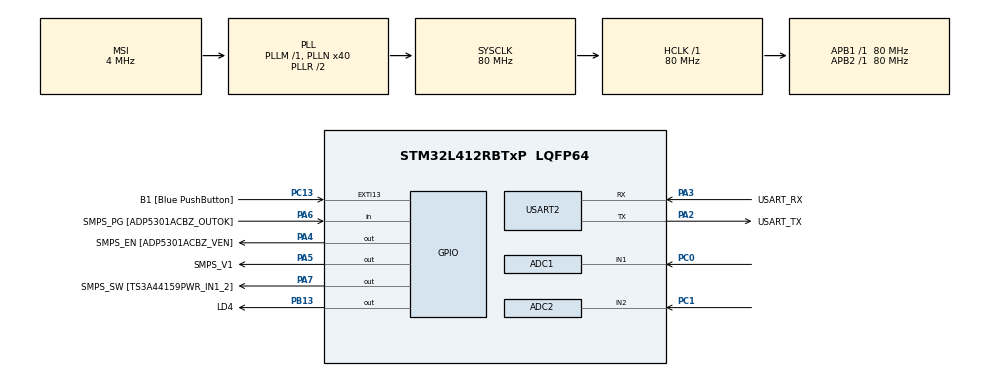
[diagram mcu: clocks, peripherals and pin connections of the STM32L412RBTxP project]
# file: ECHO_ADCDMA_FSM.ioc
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ADC1.Channel-0\#ChannelRegularConversion=ADC_CHANNEL_1
ADC1.ContinuousConvMode=ENABLE
ADC1.DMAContinuousRequests=DISABLE
ADC1.EOCSelection=ADC_EOC_SEQ_CONV
ADC1.NbrOfConversionFlag=1
ADC1.OffsetNumber-0\#ChannelRegularConversion=ADC_OFFSET_NONE
ADC1.Overrun=ADC_OVR_DATA_PRESERVED
ADC1.Rank-0\#ChannelRegularConversion=1
ADC1.SamplingTime-0\#ChannelRegularConversion=ADC_SAMPLETIME_47CYCLES_5
ADC1.master=1
ADC2.Channel-2\#ChannelRegularConversion=ADC_CHANNEL_2
ADC2.ContinuousConvMode=ENABLE
ADC2.DMAContinuousRequests=DISABLE
ADC2.EOCSelection=ADC_EOC_SEQ_CONV
ADC2.NbrOfConversionFlag=1
ADC2.OffsetNumber-2\#ChannelRegularConversion=ADC_OFFSET_NONE
ADC2.Rank-2\#ChannelRegularConversion=1
ADC2.SamplingTime-2\#ChannelRegularConversion=ADC_SAMPLETIME_47CYCLES_5
Dma.ADC1.0.Direction=DMA_PERIPH_TO_MEMORY
Dma.ADC1.0.Instance=DMA1_Channel1
Dma.ADC1.0.MemDataAlignment=DMA_MDATAALIGN_HALFWORD
Dma.ADC1.0.MemInc=DMA_MINC_ENABLE
Dma.ADC1.0.Mode=DMA_NORMAL
Dma.ADC1.0.PeriphDataAlignment=DMA_PDATAALIGN_HALFWORD
Dma.ADC1.0.PeriphInc=DMA_PINC_DISABLE
Dma.ADC1.0.Priority=DMA_PRIORITY_LOW
Dma.ADC2.1.Direction=DMA_PERIPH_TO_MEMORY
Dma.ADC2.1.Instance=DMA1_Channel2
Dma.ADC2.1.MemDataAlignment=DMA_MDATAALIGN_HALFWORD
Dma.ADC2.1.MemInc=DMA_MINC_ENABLE
Dma.ADC2.1.Mode=DMA_NORMAL
Dma.ADC2.1.PeriphDataAlignment=DMA_PDATAALIGN_HALFWORD
Dma.ADC2.1.PeriphInc=DMA_PINC_DISABLE
Dma.ADC2.1.Priority=DMA_PRIORITY_LOW
Dma.Request0=ADC1
Dma.Request1=ADC2
Mcu.Family=STM32L4
Mcu.Name=STM32L412RBTxP
Mcu.Package=LQFP64
NVIC.DMA1_Channel1_IRQn=true\:0\:0\:false\:false\:true\:false\:true\:true
NVIC.DMA1_Channel2_IRQn=true\:0\:0\:false\:false\:true\:false\:true\:true
NVIC.PriorityGroup=NVIC_PRIORITYGROUP_4
PA13\ (JTMS/SWDIO).GPIO_Label=TMS
PA13\ (JTMS/SWDIO).Mode=Serial_Wire
PA13\ (JTMS/SWDIO).Signal=SYS_JTMS-SWDIO
PA14\ (JTCK/SWCLK).GPIO_Label=TCK
PA14\ (JTCK/SWCLK).Mode=Serial_Wire
PA14\ (JTCK/SWCLK).Signal=SYS_JTCK-SWCLK
PA2.GPIO_Label=USART_TX
PA2.GPIO_PuPd=GPIO_NOPULL
PA2.GPIO_Speed=GPIO_SPEED_FREQ_VERY_HIGH
PA2.Mode=Asynchronous
PA2.Signal=USART2_TX
PA3.GPIO_Label=USART_RX
PA3.GPIO_PuPd=GPIO_NOPULL
PA3.GPIO_Speed=GPIO_SPEED_FREQ_VERY_HIGH
PA3.Mode=Asynchronous
PA3.Signal=USART2_RX
PA4.GPIO_Label=SMPS_EN [ADP5301ACBZ_VEN]
PA4.Signal=GPIO_Output
PA5.GPIO_Label=SMPS_V1
PA5.GPIO_ModeDefaultOutputPP=GPIO_MODE_OUTPUT_PP
PA5.GPIO_PuPd=GPIO_NOPULL
PA5.GPIO_Speed=GPIO_SPEED_FREQ_LOW
PA5.Signal=GPIO_Output
PA6.GPIO_Label=SMPS_PG [ADP5301ACBZ_OUTOK]
PA6.GPIO_PuPd=GPIO_PULLUP
PA6.Signal=GPIO_Input
PA7.GPIO_Label=SMPS_SW [TS3A44159PWR_IN1_2]
PA7.Signal=GPIO_Output
PB13.GPIO_Label=LD4
PB13.Signal=GPIO_Output
PB3\ (JTDO/TRACESWO).GPIO_Label=SWO
PB3\ (JTDO/TRACESWO).Signal=SYS_JTDO-SWO
PC0.Signal=ADCx_IN1
PC1.Signal=ADCx_IN2
PC13.GPIO_Label=B1 [Blue PushButton]
PC13.GPIO_ModeDefaultEXTI=GPIO_MODE_IT_FALLING
PC13.GPIO_PuPd=GPIO_NOPULL
PC13.Signal=GPXTI13
PC14-OSC32_IN\ (PC14).Mode=LSE-External-Oscillator
PC14-OSC32_IN\ (PC14).Signal=RCC_OSC32_IN
PC15-OSC32_OUT\ (PC15).Mode=LSE-External-Oscillator
PC15-OSC32_OUT\ (PC15).Signal=RCC_OSC32_OUT
PH0-OSC_IN\ (PH0).GPIO_Label=MCO
PH0-OSC_IN\ (PH0).Mode=HSE-External-Clock-Source
PH0-OSC_IN\ (PH0).Signal=RCC_OSC_IN
PH1-OSC_OUT\ (PH1).Signal=RCC_OSC_OUT
ProjectManager.HeapSize=0x200
ProjectManager.StackSize=0x400
ProjectManager.TargetToolchain=STM32CubeIDE
RCC.ADCFreq_Value=80000000
RCC.AHBFreq_Value=80000000
RCC.APB1Freq_Value=80000000
RCC.APB1TimFreq_Value=80000000
RCC.APB2Freq_Value=80000000
RCC.APB2TimFreq_Value=80000000
RCC.CortexFreq_Value=80000000
RCC.FLatency=FLASH_LATENCY_4
RCC.HCLKFreq_Value=80000000
RCC.HSE_VALUE=8000000
RCC.HSI48_VALUE=48000000
RCC.HSICalibrationValue=16
RCC.HSI_VALUE=16000000
RCC.MSIAutoCalibration=DISABLED
RCC.MSI_VALUE=4000000
RCC.PLLN=40
RCC.PREFETCH_ENABLE=1
RCC.SYSCLKFreq_VALUE=80000000
RCC.SYSCLKSource=RCC_SYSCLKSOURCE_PLLCLK
RCC.USBFreq_Value=4000000
RCC.VCOOutputFreq_Value=160000000
SH.ADCx_IN1.0=ADC1_IN1,IN1-Single-Ended
SH.ADCx_IN2.0=ADC2_IN2,IN2-Single-Ended
USART2.VirtualMode-Asynchronous=VM_ASYNC
board=NUCLEO-L412RB-P

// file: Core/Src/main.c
/* USER CODE BEGIN Header */
/**
 ******************************************************************************
 * @file           : main.c
 * @brief          : Main program body
 ******************************************************************************
 * @attention
 *
 * Copyright (c) 2022 STMicroelectronics.
 * All rights reserved.
 *
 * This software is licensed under terms that can be found in the LICENSE file
 * in the root directory of this software component.
 * If no LICENSE file comes with this software, it is provided AS-IS.
 *
 ******************************************************************************
 */
/* USER CODE END Header */
#include "main.h"

/* USER CODE BEGIN Includes */
#include <stdbool.h>
#include <stdio.h>
#include <string.h>
/* USER CODE END Includes */

/* USER CODE BEGIN PD */
#define ADC1_CHK_CH_NUM			1
#define ADC2_CHK_CH_NUM			1

#define ECHO_ADC1_RCV_SIZE		10
#define ECHO_ADC2_RCV_SIZE		10

#define ADC1_CONV_BUF			get_adc1_buf
#define ADC2_CONV_BUF			get_adc2_buf

#define ECHO_ADC1_CUR_STATE		echo_adc1_fsm_state.state
#define ECHO_ADC2_CUR_STATE		echo_adc2_fsm_state.state
/* USER CODE END PD */

ADC_HandleTypeDef hadc1;
ADC_HandleTypeDef hadc2;
DMA_HandleTypeDef hdma_adc1;
DMA_HandleTypeDef hdma_adc2;

UART_HandleTypeDef huart2;

/* USER CODE BEGIN PV */

__IO uint16_t get_adc1_buf[ADC1_CHK_CH_NUM * ECHO_ADC1_RCV_SIZE];
__IO uint16_t get_adc2_buf[ADC2_CHK_CH_NUM * ECHO_ADC2_RCV_SIZE];

uint16_t setpup_adc[ECHO_ADC1_RCV_SIZE]; // ADC1
uint16_t peak_adc[ECHO_ADC2_RCV_SIZE]; // ADC2

typedef struct
{
	echo_state_t state;
} echo_state_data_t;

echo_state_data_t echo_adc1_fsm_state;
echo_state_data_t echo_adc2_fsm_state;

echo_state_t adc1_cur_state = ECHO_ADC1_BUFFER_IS_NOT_FULL;
echo_state_t adc2_cur_state = ECHO_ADC2_BUFFER_IS_NOT_FULL;

/* USER CODE END PV */

void SystemClock_Config(void);
static void MX_GPIO_Init(void);
static void MX_DMA_Init(void);
static void MX_USART2_UART_Init(void);
static void MX_ADC1_Init(void);
static void MX_ADC2_Init(void);
/* USER CODE BEGIN PFP */
/* ADC CALLBACK FUNCTION */
void Echo_Set_ADC1_FSM_State(echo_state_t state)
{
	switch (state)
	{
	case ECHO_STATE_INIT:
		break;
	case ECHO_ADC1_BUFFER_IS_NOT_FULL:
		Echo_ADC1_Conv();
		break;
	case ECHO_ADC1_BUFFER_IS_FULL:
		Echo_ADC_Data_Print(state);
		break;
	case ECHO_ADC1_ERROR:
		HAL_ADC_Stop_DMA(&hadc1);
		break;
	default:
		break;
	}
	ECHO_ADC1_CUR_STATE = state;
}

void Echo_Set_ADC2_FSM_State(echo_state_t state)
{
	switch (state)
	{
	case ECHO_STATE_INIT:
		break;
	case ECHO_ADC2_BUFFER_IS_NOT_FULL:
		Echo_ADC2_Conv();
		break;
	case ECHO_ADC2_BUFFER_IS_FULL:
		Echo_ADC_Data_Print(state);
		break;
	case ECHO_ADC2_ERROR:
		HAL_ADC_Stop_DMA(&hadc2);
		break;
	default:
		break;
	}
	ECHO_ADC2_CUR_STATE = state;
}

void Echo_FSM_State_Init(void)
{
	ECHO_ADC1_CUR_STATE = echo_adc_state_max;
	ECHO_ADC2_CUR_STATE = echo_adc_state_max;
	Echo_Set_ADC1_FSM_State(ECHO_STATE_INIT);
	Echo_Set_ADC2_FSM_State(ECHO_STATE_INIT);
}

void Echo_Sys_FSM_State_Handle(void)
{
	if (ECHO_ADC1_CUR_STATE != adc1_cur_state)
	{
		Echo_Set_ADC1_FSM_State(adc1_cur_state);
	}
	if (ECHO_ADC2_CUR_STATE != adc2_cur_state)
	{
		Echo_Set_ADC2_FSM_State(adc2_cur_state);
	}
}

void Echo_ADC1_Conv(void)
{
	if (HAL_ADC_Start_DMA(&hadc1, (uint32_t*) ADC1_CONV_BUF,
	ADC1_CHK_CH_NUM * ECHO_ADC1_RCV_SIZE) != HAL_OK)
	{
		Error_Handler();
	}
}

void Echo_ADC2_Conv(void)
{
	if (HAL_ADC_Start_DMA(&hadc2, (uint32_t*) ADC2_CONV_BUF,
	ADC2_CHK_CH_NUM * ECHO_ADC2_RCV_SIZE) != HAL_OK)
	{
		Error_Handler();
	}
}

void Echo_ADC_Data_Print(echo_state_t state)
{
	uint8_t data[12];
	if (state == ECHO_ADC1_BUFFER_IS_FULL)
	{
		for (int i = 0; i < ECHO_ADC1_RCV_SIZE; i++)
		{
			sprintf((char*) data, (const char*) "ADC1: %d\r\n", setpup_adc[i]);
			HAL_UART_Transmit(&huart2, (uint8_t*) data, 12, 1000);
		}
		HAL_UART_Transmit(&huart2, (uint8_t*) "----------\r\n", 12, 1000);
		adc1_cur_state = ECHO_ADC1_BUFFER_IS_NOT_FULL;
	}

	if (state == ECHO_ADC2_BUFFER_IS_FULL)
	{
		for (int i = 0; i < ECHO_ADC2_RCV_SIZE; i++)
		{
			sprintf((char*) data, (const char*) "ADC2: %d\r\n", peak_adc[i]);
			HAL_UART_Transmit(&huart2, (uint8_t*) data, 12, 1000);
		}
		HAL_UART_Transmit(&huart2, (uint8_t*) "----------\r\n", 12, 1000);
		adc2_cur_state = ECHO_ADC2_BUFFER_IS_NOT_FULL;
	}
}

void HAL_ADC_ConvCpltCallback(ADC_HandleTypeDef *hadc)
{
	if (hadc->Instance == hadc1.Instance)
	{
		for (int index = 0; index < ECHO_ADC1_RCV_SIZE; index++)
		{
			setpup_adc[index] = ADC1_CONV_BUF[index]; // STEPUP_FEEDBACK
		}
		adc1_cur_state = ECHO_ADC1_BUFFER_IS_FULL;
	}

	if (hadc->Instance == hadc2.Instance)
	{
		for (int index = 0; index < ECHO_ADC2_RCV_SIZE; index++)
		{
			peak_adc[index] = ADC2_CONV_BUF[index]; // PEAK_DETECTION
		}
		adc2_cur_state = ECHO_ADC2_BUFFER_IS_FULL;
	}
}

void HAL_ADC_ConvHalfCpltCallback(ADC_HandleTypeDef *hadc)
{
	if (hadc->Instance == hadc1.Instance)
	{
		for (int index = 0; index < ECHO_ADC1_RCV_SIZE; index++)
		{
			setpup_adc[index] = ADC1_CONV_BUF[index]; // STEPUP_FEEDBACK
		}
		adc1_cur_state = ECHO_ADC1_BUFFER_IS_FULL;
	}

	if (hadc->Instance == hadc2.Instance)
	{
		for (int index = 0; index < ECHO_ADC2_RCV_SIZE; index++)
		{
			peak_adc[index] = ADC2_CONV_BUF[index]; // PEAK_DETECTION
		}
		adc2_cur_state = ECHO_ADC2_BUFFER_IS_FULL;
	}
}

void HAL_ADC_ErrorCallback(ADC_HandleTypeDef *hadc)
{
	adc1_cur_state = ECHO_ADC1_ERROR;
	adc2_cur_state = ECHO_ADC2_ERROR;
	HAL_UART_Transmit(&huart2, (uint8_t*) "ADC ERROR CALLBACK!!\r\n", 22, 1000);
}
/* USER CODE END PFP */

int main(void)
{

	/* MCU Configuration--------------------------------------------------------*/

	/* Reset of all peripherals, Initializes the Flash interface and the Systick. */
	HAL_Init();

	/* Configure the system clock */
	SystemClock_Config();

	/* Initialize all configured peripherals */
	MX_GPIO_Init();
	MX_DMA_Init();
	MX_USART2_UART_Init();
	MX_ADC1_Init();
	MX_ADC2_Init();
	/* USER CODE BEGIN 2 */
	Echo_FSM_State_Init();

	static uint32_t schdule_tick = 0;
	if (HAL_ADCEx_Calibration_Start(&hadc1, ADC_SINGLE_ENDED) != HAL_OK)
	{
		Error_Handler();
	}
	if (HAL_ADCEx_Calibration_Start(&hadc2, ADC_SINGLE_ENDED) != HAL_OK)
	{
		Error_Handler();
	}

	/* USER CODE END 2 */

	/* Infinite loop */
	while (1)
	{

		/* USER CODE BEGIN 3 */

		if (HAL_GetTick() - schdule_tick >= 1000)
		{
			Echo_Sys_FSM_State_Handle();
			schdule_tick = HAL_GetTick();

		}
	}
	/* USER CODE END 3 */
}

void SystemClock_Config(void)
{
	RCC_OscInitTypeDef RCC_OscInitStruct =
	{ 0 };
	RCC_ClkInitTypeDef RCC_ClkInitStruct =
	{ 0 };

	/** Configure the main internal regulator output voltage
	 */
	if (HAL_PWREx_ControlVoltageScaling(PWR_REGULATOR_VOLTAGE_SCALE1) != HAL_OK)
	{
		Error_Handler();
	}

	/** Initializes the RCC Oscillators according to the specified parameters
	 * in the RCC_OscInitTypeDef structure.
	 */
	RCC_OscInitStruct.OscillatorType = RCC_OSCILLATORTYPE_MSI;
	RCC_OscInitStruct.MSIState = RCC_MSI_ON;
	RCC_OscInitStruct.MSICalibrationValue = 0;
	RCC_OscInitStruct.MSIClockRange = RCC_MSIRANGE_6;
	RCC_OscInitStruct.PLL.PLLState = RCC_PLL_ON;
	RCC_OscInitStruct.PLL.PLLSource = RCC_PLLSOURCE_MSI;
	RCC_OscInitStruct.PLL.PLLM = 1;
	RCC_OscInitStruct.PLL.PLLN = 40;
	RCC_OscInitStruct.PLL.PLLQ = RCC_PLLQ_DIV2;
	RCC_OscInitStruct.PLL.PLLR = RCC_PLLR_DIV2;
	if (HAL_RCC_OscConfig(&RCC_OscInitStruct) != HAL_OK)
	{
		Error_Handler();
	}

	/** Initializes the CPU, AHB and APB buses clocks
	 */
	RCC_ClkInitStruct.ClockType = RCC_CLOCKTYPE_HCLK | RCC_CLOCKTYPE_SYSCLK
			| RCC_CLOCKTYPE_PCLK1 | RCC_CLOCKTYPE_PCLK2;
	RCC_ClkInitStruct.SYSCLKSource = RCC_SYSCLKSOURCE_PLLCLK;
	RCC_ClkInitStruct.AHBCLKDivider = RCC_SYSCLK_DIV1;
	RCC_ClkInitStruct.APB1CLKDivider = RCC_HCLK_DIV1;
	RCC_ClkInitStruct.APB2CLKDivider = RCC_HCLK_DIV1;

	if (HAL_RCC_ClockConfig(&RCC_ClkInitStruct, FLASH_LATENCY_4) != HAL_OK)
	{
		Error_Handler();
	}
}

static void MX_ADC1_Init(void)
{

	ADC_MultiModeTypeDef multimode =
	{ 0 };
	ADC_ChannelConfTypeDef sConfig =
	{ 0 };

	/** Common config
	 */
	hadc1.Instance = ADC1;
	hadc1.Init.ClockPrescaler = ADC_CLOCK_ASYNC_DIV1;
	hadc1.Init.Resolution = ADC_RESOLUTION_12B;
	hadc1.Init.DataAlign = ADC_DATAALIGN_RIGHT;
	hadc1.Init.ScanConvMode = ADC_SCAN_DISABLE;
	hadc1.Init.EOCSelection = ADC_EOC_SEQ_CONV;
	hadc1.Init.LowPowerAutoWait = DISABLE;
	hadc1.Init.ContinuousConvMode = ENABLE;
	hadc1.Init.NbrOfConversion = 1;
	hadc1.Init.DiscontinuousConvMode = DISABLE;
	hadc1.Init.ExternalTrigConv = ADC_SOFTWARE_START;
	hadc1.Init.ExternalTrigConvEdge = ADC_EXTERNALTRIGCONVEDGE_NONE;
	hadc1.Init.DMAContinuousRequests = DISABLE;
	hadc1.Init.Overrun = ADC_OVR_DATA_PRESERVED;
	hadc1.Init.OversamplingMode = DISABLE;
	if (HAL_ADC_Init(&hadc1) != HAL_OK)
	{
		Error_Handler();
	}

	/** Configure the ADC multi-mode
	 */
	multimode.Mode = ADC_MODE_INDEPENDENT;
	if (HAL_ADCEx_MultiModeConfigChannel(&hadc1, &multimode) != HAL_OK)
	{
		Error_Handler();
	}

	/** Configure Regular Channel
	 */
	sConfig.Channel = ADC_CHANNEL_1;
	sConfig.Rank = ADC_REGULAR_RANK_1;
	sConfig.SamplingTime = ADC_SAMPLETIME_47CYCLES_5;
	sConfig.SingleDiff = ADC_SINGLE_ENDED;
	sConfig.OffsetNumber = ADC_OFFSET_NONE;
	sConfig.Offset = 0;
	if (HAL_ADC_ConfigChannel(&hadc1, &sConfig) != HAL_OK)
	{
		Error_Handler();
	}

}

static void MX_ADC2_Init(void)
{

	ADC_ChannelConfTypeDef sConfig =
	{ 0 };

	/** Common config
	 */
	hadc2.Instance = ADC2;
	hadc2.Init.ClockPrescaler = ADC_CLOCK_ASYNC_DIV1;
	hadc2.Init.Resolution = ADC_RESOLUTION_12B;
	hadc2.Init.DataAlign = ADC_DATAALIGN_RIGHT;
	hadc2.Init.ScanConvMode = ADC_SCAN_DISABLE;
	hadc2.Init.EOCSelection = ADC_EOC_SEQ_CONV;
	hadc2.Init.LowPowerAutoWait = DISABLE;
	hadc2.Init.ContinuousConvMode = ENABLE;
	hadc2.Init.NbrOfConversion = 1;
	hadc2.Init.DiscontinuousConvMode = DISABLE;
	hadc2.Init.ExternalTrigConv = ADC_SOFTWARE_START;
	hadc2.Init.ExternalTrigConvEdge = ADC_EXTERNALTRIGCONVEDGE_NONE;
	hadc2.Init.DMAContinuousRequests = DISABLE;
	hadc2.Init.Overrun = ADC_OVR_DATA_PRESERVED;
	hadc2.Init.OversamplingMode = DISABLE;
	if (HAL_ADC_Init(&hadc2) != HAL_OK)
	{
		Error_Handler();
	}

	/** Configure Regular Channel
	 */
	sConfig.Channel = ADC_CHANNEL_2;
	sConfig.Rank = ADC_REGULAR_RANK_1;
	sConfig.SamplingTime = ADC_SAMPLETIME_47CYCLES_5;
	sConfig.SingleDiff = ADC_SINGLE_ENDED;
	sConfig.OffsetNumber = ADC_OFFSET_NONE;
	sConfig.Offset = 0;
	if (HAL_ADC_ConfigChannel(&hadc2, &sConfig) != HAL_OK)
	{
		Error_Handler();
	}

}

static void MX_USART2_UART_Init(void)
{

	huart2.Instance = USART2;
	huart2.Init.BaudRate = 115200;
	huart2.Init.WordLength = UART_WORDLENGTH_8B;
	huart2.Init.StopBits = UART_STOPBITS_1;
	huart2.Init.Parity = UART_PARITY_NONE;
	huart2.Init.Mode = UART_MODE_TX_RX;
	huart2.Init.HwFlowCtl = UART_HWCONTROL_NONE;
	huart2.Init.OverSampling = UART_OVERSAMPLING_16;
	huart2.Init.OneBitSampling = UART_ONE_BIT_SAMPLE_DISABLE;
	huart2.AdvancedInit.AdvFeatureInit = UART_ADVFEATURE_NO_INIT;
	if (HAL_UART_Init(&huart2) != HAL_OK)
	{
		Error_Handler();
	}

}

static void MX_DMA_Init(void)
{

	/* DMA controller clock enable */
	__HAL_RCC_DMA1_CLK_ENABLE();

	/* DMA interrupt init */
	/* DMA1_Channel1_IRQn interrupt configuration */
	HAL_NVIC_SetPriority(DMA1_Channel1_IRQn, 0, 0);
	HAL_NVIC_EnableIRQ(DMA1_Channel1_IRQn);
	/* DMA1_Channel2_IRQn interrupt configuration */
	HAL_NVIC_SetPriority(DMA1_Channel2_IRQn, 0, 0);
	HAL_NVIC_EnableIRQ(DMA1_Channel2_IRQn);

}

static void MX_GPIO_Init(void)
{
	GPIO_InitTypeDef GPIO_InitStruct =
	{ 0 };

	/* GPIO Ports Clock Enable */
	__HAL_RCC_GPIOC_CLK_ENABLE();
	__HAL_RCC_GPIOH_CLK_ENABLE();
	__HAL_RCC_GPIOA_CLK_ENABLE();
	__HAL_RCC_GPIOB_CLK_ENABLE();

	/*Configure GPIO pin Output Level */
	HAL_GPIO_WritePin(GPIOA, SMPS_EN_Pin | SMPS_V1_Pin | SMPS_SW_Pin,
			GPIO_PIN_RESET);

	/*Configure GPIO pin Output Level */
	HAL_GPIO_WritePin(LD4_GPIO_Port, LD4_Pin, GPIO_PIN_RESET);

	/*Configure GPIO pin : B1_Pin */
	GPIO_InitStruct.Pin = B1_Pin;
	GPIO_InitStruct.Mode = GPIO_MODE_IT_FALLING;
	GPIO_InitStruct.Pull = GPIO_NOPULL;
	HAL_GPIO_Init(B1_GPIO_Port, &GPIO_InitStruct);

	/*Configure GPIO pins : SMPS_EN_Pin SMPS_V1_Pin SMPS_SW_Pin */
	GPIO_InitStruct.Pin = SMPS_EN_Pin | SMPS_V1_Pin | SMPS_SW_Pin;
	GPIO_InitStruct.Mode = GPIO_MODE_OUTPUT_PP;
	GPIO_InitStruct.Pull = GPIO_NOPULL;
	GPIO_InitStruct.Speed = GPIO_SPEED_FREQ_LOW;
	HAL_GPIO_Init(GPIOA, &GPIO_InitStruct);

	/*Configure GPIO pin : SMPS_PG_Pin */
	GPIO_InitStruct.Pin = SMPS_PG_Pin;
	GPIO_InitStruct.Mode = GPIO_MODE_INPUT;
	GPIO_InitStruct.Pull = GPIO_PULLUP;
	HAL_GPIO_Init(SMPS_PG_GPIO_Port, &GPIO_InitStruct);

	/*Configure GPIO pin : LD4_Pin */
	GPIO_InitStruct.Pin = LD4_Pin;
	GPIO_InitStruct.Mode = GPIO_MODE_OUTPUT_PP;
	GPIO_InitStruct.Pull = GPIO_NOPULL;
	GPIO_InitStruct.Speed = GPIO_SPEED_FREQ_LOW;
	HAL_GPIO_Init(LD4_GPIO_Port, &GPIO_InitStruct);

}

void Error_Handler(void)
{
	__disable_irq();
	while (1)
	{
	}
}
